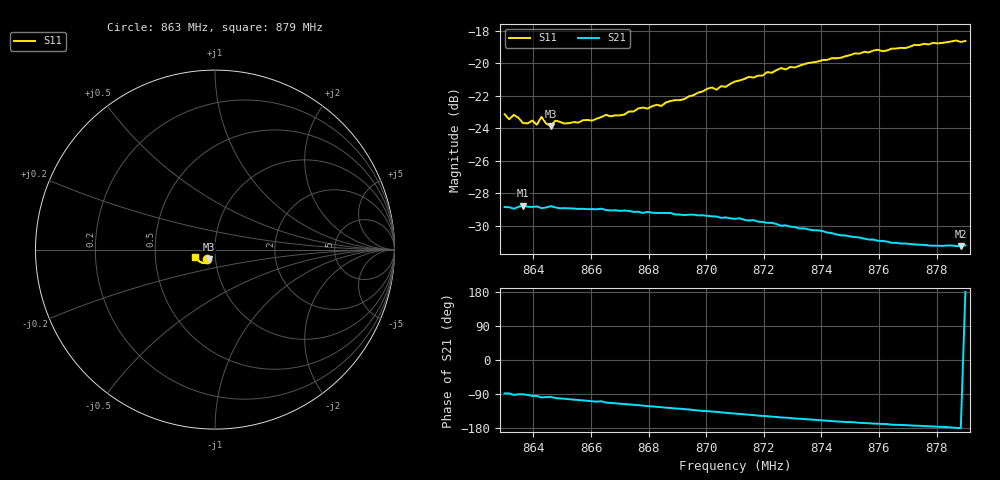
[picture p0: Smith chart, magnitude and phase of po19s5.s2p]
# HZ S RI R 50
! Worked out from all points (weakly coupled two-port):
!   101 points, 863 MHz to 879 MHz, reference 50 ohm
!   highest |S21| = -28.75 dB at 863.64 MHz (marker M1); lowest = -31.2 dB at 878.84 MHz (marker M2)
!   lowest |S11| = -23.9 dB at 864.6 MHz (marker M3), VSWR 1.14, Z = 46.4 - j5.02 ohm
!   |S11| at or under -10 dB: start of sweep to end of sweep
!   S12 and S22 are empty: the file has one direction only
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8.63e8  -0.0444 -0.0538  0.00118 -0.0361  0 0  0 0
8.6316e8  -0.0431 -0.0516  0.00113 -0.0361  0 0  0 0
8.6332e8  -0.0436 -0.0539  -0.00137 -0.0357  0 0  0 0
8.6364e8  -0.0378 -0.0534  -0.000309 -0.0365  0 0  0 0
8.6396e8  -0.0402 -0.0531  -0.00299 -0.036  0 0  0 0
8.6412e8  -0.0369 -0.0531  -0.00305 -0.0362  0 0  0 0
8.6428e8  -0.0405 -0.0552  -0.00557 -0.0354  0 0  0 0
8.6444e8  -0.0377 -0.0532  -0.00488 -0.0357  0 0  0 0
8.646e8  -0.0347 -0.0539  -0.00452 -0.0361  0 0  0 0
8.6476e8  -0.0379 -0.0548  -0.00648 -0.0355  0 0  0 0
8.6508e8  -0.0347 -0.0552  -0.0077 -0.035  0 0  0 0
8.6572e8  -0.0347 -0.0571  -0.0101 -0.0342  0 0  0 0
8.6716e8  -0.0338 -0.0608  -0.0156 -0.0316  0 0  0 0
8.6828e8  -0.036 -0.0653  -0.0191 -0.0289  0 0  0 0
8.6844e8  -0.0357 -0.0647  -0.0197 -0.0285  0 0  0 0
8.7004e8  -0.0424 -0.0719  -0.024 -0.024  0 0  0 0
8.7068e8  -0.0441 -0.0722  -0.0254 -0.0219  0 0  0 0
8.71e8  -0.0477 -0.0738  -0.026 -0.0208  0 0  0 0
8.7372e8  -0.0673 -0.0748  -0.0283 -0.0118  0 0  0 0
8.7644e8  -0.0916 -0.0625  -0.0277 -0.00452  0 0  0 0
8.7884e8  -0.1088 -0.0408  -0.0274 -0.000215  0 0  0 0
8.79e8  -0.1104 -0.0389  -0.0276 0.000116  0 0  0 0
